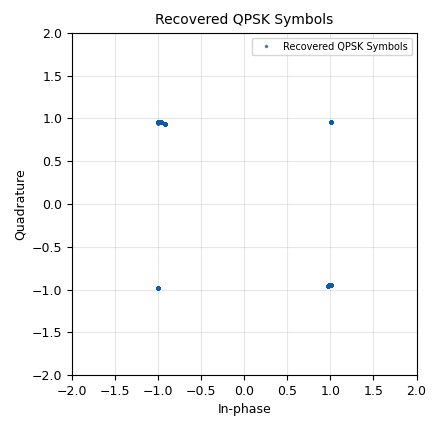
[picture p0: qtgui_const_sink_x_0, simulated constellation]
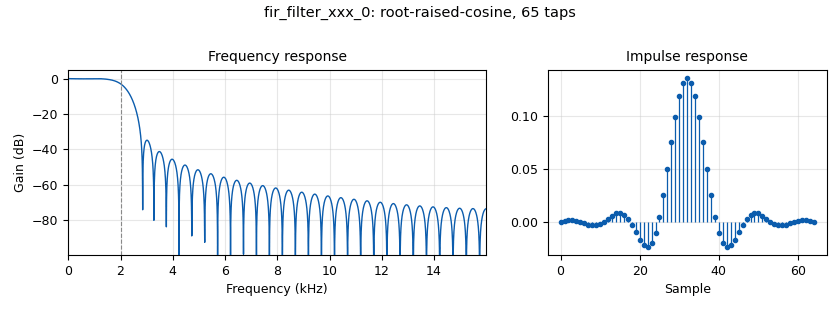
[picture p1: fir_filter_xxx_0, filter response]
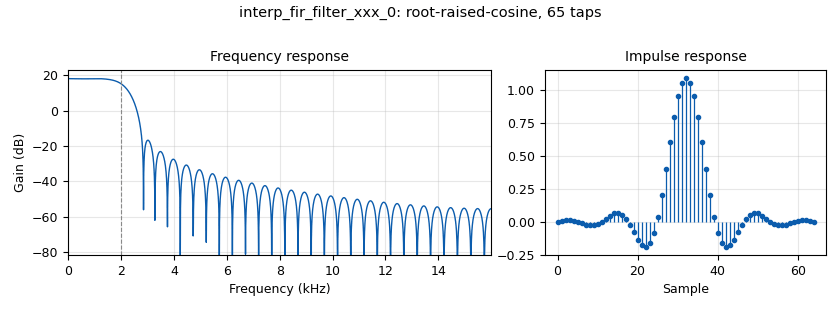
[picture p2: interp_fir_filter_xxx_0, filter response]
options:
  parameters:
    generate_options: qt_gui
    id: exp8
    output_language: python
    title: QPSK Frame Detection
  states: {}

blocks:
- name: alpha
  id: variable
  parameters:
    value: '0.35'
  states: {}
- name: noise_voltage
  id: variable_qtgui_range
  parameters:
    label: Noise Voltage
    start: '0'
    step: '0.05'
    stop: '3'
    value: '0'
  states: {}
- name: ntaps
  id: variable
  parameters:
    value: span * sps + 1
  states: {}
- name: samp_rate
  id: variable
  parameters:
    value: '32000'
  states: {}
- name: span
  id: variable
  parameters:
    value: '8'
  states: {}
- name: sps
  id: variable
  parameters:
    value: int(samp_rate / symbol_rate)
  states: {}
- name: symbol_rate
  id: variable
  parameters:
    value: '4000'
  states: {}
- name: blocks_complex_to_float_0
  id: blocks_complex_to_float
  parameters: {}
  states: {}
- name: blocks_float_to_complex_0
  id: blocks_float_to_complex
  parameters: {}
  states: {}
- name: blocks_head_0
  id: blocks_head
  parameters:
    num_items: '128'
    type: byte
  states: {}
- name: blocks_interleave_0
  id: blocks_interleave
  parameters:
    type: byte
  states: {}
- name: blocks_tag_debug_0
  id: blocks_tag_debug
  parameters:
    filter: frame_start
    name: Access Code Detection
    type: byte
  states: {}
- name: blocks_throttle2_0
  id: blocks_throttle2
  parameters:
    samples_per_second: samp_rate
    type: complex
  states: {}
- name: blocks_vector_source_x_0
  id: blocks_vector_source_x
  parameters:
    repeat: 'True'
    type: byte
    vector: '[1, 1, 0, 1, 0, 1, 0, 0]'
  states: {}
- name: blocks_vector_source_x_0_0
  id: blocks_vector_source_x
  parameters:
    repeat: 'True'
    type: byte
    vector: '[0, 1, 0, 0, 1, 0, 1, 1]'
  states: {}
- name: channels_channel_model_0
  id: channels_channel_model
  parameters:
    epsilon: '1.0'
    freq_offset: '0.0'
    noise_voltage: noise_voltage
    seed: '0'
    taps: '1.0'
  states: {}
- name: digital_binary_slicer_fb_0
  id: digital_binary_slicer_fb
  parameters: {}
  states: {}
- name: digital_binary_slicer_fb_1
  id: digital_binary_slicer_fb
  parameters: {}
  states: {}
- name: digital_chunks_to_symbols_xx_0
  id: digital_chunks_to_symbols_xx
  parameters:
    dimension: '1'
    in_type: byte
    out_type: float
    symbol_table: '[-1,1]'
  states: {}
- name: digital_chunks_to_symbols_xx_0_0
  id: digital_chunks_to_symbols_xx
  parameters:
    dimension: '1'
    in_type: byte
    out_type: float
    symbol_table: '[-1,1]'
  states: {}
- name: digital_correlate_access_code_tag_xx_0
  id: digital_correlate_access_code_tag_xx
  parameters:
    access_code: '10110010'
    tagname: frame_start
    threshold: '0'
    type: byte
  states: {}
- name: digital_symbol_sync_xx_0
  id: digital_symbol_sync_xx
  parameters:
    damping: '1.0'
    loop_bw: '0.045'
    max_dev: '1.5'
    osps: '1'
    resamp_type: digital.IR_MMSE_8TAP
    sps: sps
    ted_gain: '1.0'
    ted_type: digital.TED_GARDNER
    type: cc
  states: {}
- name: fir_filter_xxx_0
  id: fir_filter_xxx
  parameters:
    decim: '1'
    taps: firdes.root_raised_cosine(1, samp_rate, symbol_rate, alpha, ntaps)
    type: ccf
  states: {}
- name: import_0
  id: import
  parameters:
    imports: import math
  states: {}
- name: interp_fir_filter_xxx_0
  id: interp_fir_filter_xxx
  parameters:
    interp: sps
    taps: firdes.root_raised_cosine(sps, samp_rate, symbol_rate, alpha, ntaps)
    type: ccf
  states: {}
- name: qtgui_const_sink_x_0
  id: qtgui_const_sink_x
  parameters:
    grid: 'True'
    label1: Recovered QPSK Symbols
    name: Recovered QPSK Symbols
    size: '1024'
    type: complex
    width1: '2'
  states: {}

connections:
- [blocks_complex_to_float_0, '0', digital_binary_slicer_fb_0, '0']
- [blocks_complex_to_float_0, '1', digital_binary_slicer_fb_1, '0']
- [blocks_float_to_complex_0, '0', interp_fir_filter_xxx_0, '0']
- [blocks_head_0, '0', blocks_tag_debug_0, '0']
- [blocks_interleave_0, '0', digital_correlate_access_code_tag_xx_0, '0']
- [blocks_throttle2_0, '0', channels_channel_model_0, '0']
- [blocks_vector_source_x_0, '0', digital_chunks_to_symbols_xx_0, '0']
- [blocks_vector_source_x_0_0, '0', digital_chunks_to_symbols_xx_0_0, '0']
- [channels_channel_model_0, '0', fir_filter_xxx_0, '0']
- [digital_binary_slicer_fb_0, '0', blocks_interleave_0, '0']
- [digital_binary_slicer_fb_1, '0', blocks_interleave_0, '1']
- [digital_chunks_to_symbols_xx_0, '0', blocks_float_to_complex_0, '0']
- [digital_chunks_to_symbols_xx_0_0, '0', blocks_float_to_complex_0, '1']
- [digital_correlate_access_code_tag_xx_0, '0', blocks_head_0, '0']
- [digital_symbol_sync_xx_0, '0', blocks_complex_to_float_0, '0']
- [digital_symbol_sync_xx_0, '0', qtgui_const_sink_x_0, '0']
- [fir_filter_xxx_0, '0', digital_symbol_sync_xx_0, '0']
- [interp_fir_filter_xxx_0, '0', blocks_throttle2_0, '0']

metadata:
  file_format: 1
  grc_version: 3.10.12.0
